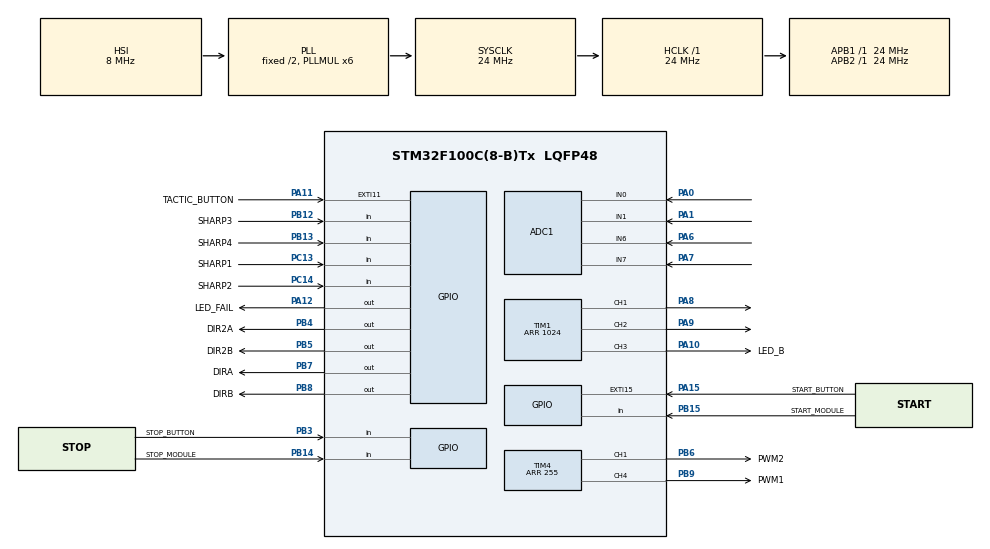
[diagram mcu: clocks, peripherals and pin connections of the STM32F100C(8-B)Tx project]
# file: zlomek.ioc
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ADC1.Channel-40\#ChannelRegularConversion=ADC_CHANNEL_0
ADC1.Channel-41\#ChannelRegularConversion=ADC_CHANNEL_1
ADC1.Channel-42\#ChannelRegularConversion=ADC_CHANNEL_6
ADC1.Channel-43\#ChannelRegularConversion=ADC_CHANNEL_7
ADC1.ContinuousConvMode=ENABLE
ADC1.DataAlign=ADC_DATAALIGN_RIGHT
ADC1.DiscontinuousConvMode=DISABLE
ADC1.EnableAnalogWatchDog=false
ADC1.EnableRegularConversion=ENABLE
ADC1.InjNumberOfConversion=0
ADC1.NbrOfConversion=4
ADC1.NbrOfConversionFlag=1
ADC1.Rank-40\#ChannelRegularConversion=1
ADC1.Rank-41\#ChannelRegularConversion=2
ADC1.Rank-42\#ChannelRegularConversion=3
ADC1.Rank-43\#ChannelRegularConversion=4
ADC1.SamplingTime-40\#ChannelRegularConversion=ADC_SAMPLETIME_55CYCLES_5
ADC1.SamplingTime-41\#ChannelRegularConversion=ADC_SAMPLETIME_55CYCLES_5
ADC1.SamplingTime-42\#ChannelRegularConversion=ADC_SAMPLETIME_55CYCLES_5
ADC1.SamplingTime-43\#ChannelRegularConversion=ADC_SAMPLETIME_55CYCLES_5
ADC1.ScanConvMode=ADC_SCAN_ENABLE
ADC1.master=1
Dma.ADC1.0.Direction=DMA_PERIPH_TO_MEMORY
Dma.ADC1.0.Instance=DMA1_Channel1
Dma.ADC1.0.MemDataAlignment=DMA_MDATAALIGN_HALFWORD
Dma.ADC1.0.MemInc=DMA_MINC_ENABLE
Dma.ADC1.0.Mode=DMA_CIRCULAR
Dma.ADC1.0.PeriphDataAlignment=DMA_PDATAALIGN_HALFWORD
Dma.ADC1.0.PeriphInc=DMA_PINC_DISABLE
Dma.ADC1.0.Priority=DMA_PRIORITY_LOW
Dma.Request0=ADC1
Mcu.Family=STM32F1
Mcu.Name=STM32F100C(8-B)Tx
Mcu.Package=LQFP48
NVIC.DMA1_Channel1_IRQn=true\:0\:0\:false\:false\:true\:true
NVIC.EXTI15_10_IRQn=true\:0\:0\:false\:false\:true\:true
NVIC.PriorityGroup=NVIC_PRIORITYGROUP_4
PA0-WKUP.Signal=ADCx_IN0
PA1.Signal=ADCx_IN1
PA10.GPIO_Label=LED_B
PA10.Signal=S_TIM1_CH3
PA11.GPIO_Label=TACTIC_BUTTON
PA11.GPIO_ModeDefaultEXTI=GPIO_MODE_IT_RISING_FALLING
PA11.Signal=GPXTI11
PA12.GPIO_Label=LED_FAIL
PA12.Signal=GPIO_Output
PA15.GPIO_Label=START_BUTTON
PA15.GPIO_ModeDefaultEXTI=GPIO_MODE_IT_RISING_FALLING
PA15.Signal=GPXTI15
PA6.Signal=ADCx_IN6
PA7.Signal=ADCx_IN7
PA8.Signal=S_TIM1_CH1
PA9.Signal=S_TIM1_CH2
PB12.GPIO_Label=SHARP3
PB12.Signal=GPIO_Input
PB13.GPIO_Label=SHARP4
PB13.Signal=GPIO_Input
PB14.GPIO_Label=STOP_MODULE
PB14.Signal=GPIO_Input
PB15.GPIO_Label=START_MODULE
PB15.Signal=GPIO_Input
PB3.GPIO_Label=STOP_BUTTON
PB3.Signal=GPIO_Input
PB4.GPIO_Label=DIR2A
PB4.Signal=GPIO_Output
PB5.GPIO_Label=DIR2B
PB5.Signal=GPIO_Output
PB6.GPIO_Label=PWM2
PB6.Signal=S_TIM4_CH1
PB7.GPIO_Label=DIRA
PB7.Signal=GPIO_Output
PB8.GPIO_Label=DIRB
PB8.Signal=GPIO_Output
PB9.GPIO_Label=PWM1
PB9.Signal=S_TIM4_CH4
PC13-TAMPER-RTC.GPIO_Label=SHARP1
PC13-TAMPER-RTC.Signal=GPIO_Input
PC14-OSC32_IN.GPIO_Label=SHARP2
PC14-OSC32_IN.Signal=GPIO_Input
ProjectManager.HeapSize=0x200
ProjectManager.StackSize=0x400
ProjectManager.TargetToolchain=SW4STM32
RCC.AHBFreq_Value=24000000
RCC.APB1Freq_Value=24000000
RCC.APB1TimFreq_Value=24000000
RCC.APB2Freq_Value=24000000
RCC.APB2TimFreq_Value=24000000
RCC.HCLKFreq_Value=24000000
RCC.PLLMUL=RCC_PLL_MUL6
RCC.SYSCLKFreq_VALUE=24000000
RCC.SYSCLKSource=RCC_SYSCLKSOURCE_PLLCLK
SH.ADCx_IN0.0=ADC1_IN0,IN0
SH.ADCx_IN1.0=ADC1_IN1,IN1
SH.ADCx_IN6.0=ADC1_IN6,IN6
SH.ADCx_IN7.0=ADC1_IN7,IN7
SH.S_TIM1_CH1.0=TIM1_CH1,PWM Generation1 CH1
SH.S_TIM1_CH2.0=TIM1_CH2,PWM Generation2 CH2
SH.S_TIM1_CH3.0=TIM1_CH3,PWM Generation3 CH3
SH.S_TIM4_CH1.0=TIM4_CH1,PWM Generation1 CH1
SH.S_TIM4_CH4.0=TIM4_CH4,PWM Generation4 CH4
TIM1.Channel-PWM\ Generation1\ CH1=TIM_CHANNEL_1
TIM1.Channel-PWM\ Generation2\ CH2=TIM_CHANNEL_2
TIM1.Channel-PWM\ Generation3\ CH3=TIM_CHANNEL_3
TIM1.Period=1024
TIM4.Channel-PWM\ Generation1\ CH1=TIM_CHANNEL_1
TIM4.Channel-PWM\ Generation4\ CH4=TIM_CHANNEL_4
TIM4.OCMode_PWM-PWM\ Generation4\ CH4=TIM_OCMODE_PWM1
TIM4.Period=255
VP_SYS_VS_ND.Mode=No_Debug
VP_TIM1_VS_ClockSourceINT.Mode=Internal
VP_TIM4_VS_ClockSourceINT.Mode=Internal
board=zlomek

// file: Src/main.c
/**
 ******************************************************************************
 * File Name          : main.c
 * Description        : Main program body
 ******************************************************************************
 *
 * COPYRIGHT(c) 2017 STMicroelectronics
 *
 * Redistribution and use in source and binary forms, with or without modification,
 * are permitted provided that the following conditions are met:
 *   1. Redistributions of source code must retain the above copyright notice,
 *      this list of conditions and the following disclaimer.
 *   2. Redistributions in binary form must reproduce the above copyright notice,
 *      this list of conditions and the following disclaimer in the documentation
 *      and/or other materials provided with the distribution.
 *   3. Neither the name of STMicroelectronics nor the names of its contributors
 *      may be used to endorse or promote products derived from this software
 *      without specific prior written permission.
 *
 * THIS SOFTWARE IS PROVIDED BY THE COPYRIGHT HOLDERS AND CONTRIBUTORS "AS IS"
 * AND ANY EXPRESS OR IMPLIED WARRANTIES, INCLUDING, BUT NOT LIMITED TO, THE
 * IMPLIED WARRANTIES OF MERCHANTABILITY AND FITNESS FOR A PARTICULAR PURPOSE ARE
 * DISCLAIMED. IN NO EVENT SHALL THE COPYRIGHT HOLDER OR CONTRIBUTORS BE LIABLE
 * FOR ANY DIRECT, INDIRECT, INCIDENTAL, SPECIAL, EXEMPLARY, OR CONSEQUENTIAL
 * DAMAGES (INCLUDING, BUT NOT LIMITED TO, PROCUREMENT OF SUBSTITUTE GOODS OR
 * SERVICES; LOSS OF USE, DATA, OR PROFITS; OR BUSINESS INTERRUPTION) HOWEVER
 * CAUSED AND ON ANY THEORY OF LIABILITY, WHETHER IN CONTRACT, STRICT LIABILITY,
 * OR TORT (INCLUDING NEGLIGENCE OR OTHERWISE) ARISING IN ANY WAY OUT OF THE USE
 * OF THIS SOFTWARE, EVEN IF ADVISED OF THE POSSIBILITY OF SUCH DAMAGE.
 *
 ******************************************************************************
 */
#include "main.h"
#include "stm32f1xx_hal.h"

ADC_HandleTypeDef hadc1;
DMA_HandleTypeDef hdma_adc1;

TIM_HandleTypeDef htim1;
TIM_HandleTypeDef htim4;

/* USER CODE BEGIN PV */
/* Private variables ---------------------------------------------------------*/
uint16_t KTIR[4];
int count = 0;
volatile int status = 0;
int kolory[10][3] = { { 50, 50, 50 }, { 150, 50, 50 }, { 250, 50, 50 }, { 50,
		150, 50 }, { 50, 250, 50 }, { 50, 50, 150 }, { 50, 50, 250 }, { 150,
		150, 150 }, { 250, 250, 0 }, { 0, 250, 250 }, };
int tactic = 0;
int max_tactic = 10;
/* USER CODE END PV */

void SystemClock_Config(void);
void Error_Handler(void);
static void MX_GPIO_Init(void);
static void MX_DMA_Init(void);
static void MX_TIM1_Init(void);
static void MX_TIM4_Init(void);
static void MX_ADC1_Init(void);

void HAL_TIM_MspPostInit(TIM_HandleTypeDef *htim);

/* USER CODE BEGIN PFP */
/* Private function prototypes -----------------------------------------------*/
void HAL_GPIO_EXTI_Callback(uint16_t GPIO_Pin);
/* USER CODE END PFP */

int main(void) {

	/* MCU Configuration----------------------------------------------------------*/

	/* Reset of all peripherals, Initializes the Flash interface and the Systick. */
	HAL_Init();

	/* Configure the system clock */
	SystemClock_Config();

	/* Initialize all configured peripherals */
	MX_GPIO_Init();
	MX_DMA_Init();
	MX_TIM1_Init();
	MX_TIM4_Init();
	MX_ADC1_Init();

	/* USER CODE BEGIN 2 */
	__HAL_AFIO_REMAP_SWJ_NOJTAG();
	HAL_TIM_PWM_Start(&htim1, TIM_CHANNEL_3); //Blue
	HAL_TIM_PWM_Start(&htim1, TIM_CHANNEL_2); //Red
	HAL_TIM_PWM_Start(&htim1, TIM_CHANNEL_1); //Green

	HAL_TIM_PWM_Start(&htim4, TIM_CHANNEL_1);
	HAL_TIM_PWM_Start(&htim4, TIM_CHANNEL_4);

	int direction = 0;
	int pop_direction = 0;
	int zmiana = 0;
	int q1 = 1;
	int q2 = 1;
	// -- Enables ADC DMA request

	HAL_ADC_Start_DMA(&hadc1, KTIR, 4);
	//HAL_ADC_Start(&hadc1);
	//HAL_ADC_Start_DMA(&hadc1, KTIR, 2);
	//HAL_ADC_Start(&hadc1);
	//HAL_ADC_Start(&hadc1);
	/* USER CODE END 2 */

	/* Infinite loop */
	while (1) {
		/*HAL_ADC_Start(&hadc1);
		 while(HAL_ADC_PollForConversion(&hadc1,0) != HAL_OK);

		 while(HAL_ADC_PollForConversion(&hadc1,0) != HAL_OK);

		 HAL_ADC_Stop(&hadc1);
		 TIM1->CCR2 = KTIR[1];*/

		//KTIR[0] = HAL_ADC_GetValue(&hadc1);
		//KTIR[0]= HAL_ADC_GetValue(&hadc1);
		// TIM1->CCR1 = KTIR[0];
		/*
		 if(HAL_GPIO_ReadPin(START_BUTTON_GPIO_Port, START_BUTTON_Pin) == GPIO_PIN_SET){
		 HAL_Delay(50);
		 if(HAL_GPIO_ReadPin(START_BUTTON_GPIO_Port, START_BUTTON_Pin) == GPIO_PIN_SET){
		 if(status == 0) status = 1; else status = 0;

		 HAL_GPIO_WritePin(LED_FAIL_GPIO_Port, LED_FAIL_Pin, GPIO_PIN_SET);
		 HAL_Delay(1000);
		 HAL_GPIO_WritePin(LED_FAIL_GPIO_Port, LED_FAIL_Pin, GPIO_PIN_RESET);
		 HAL_Delay(1000);
		 HAL_GPIO_WritePin(LED_FAIL_GPIO_Port, LED_FAIL_Pin, GPIO_PIN_SET);
		 if(HAL_GPIO_ReadPin(START_BUTTON_GPIO_Port, START_BUTTON_Pin) == GPIO_PIN_SET){
		 status = 2;
		 }else{
		 HAL_Delay(1000);
		 HAL_GPIO_WritePin(LED_FAIL_GPIO_Port, LED_FAIL_Pin, GPIO_PIN_RESET);
		 HAL_Delay(1000);
		 HAL_GPIO_WritePin(LED_FAIL_GPIO_Port, LED_FAIL_Pin, GPIO_PIN_SET);
		 HAL_Delay(1000);

		 }
		 }
		 }
		 if(status == 2){
		 TIM1->CCR3 = 60;
		 TIM1->CCR2 = 60;
		 TIM1->CCR1 = 60;

		 }*/
		if (status == 1) {
			status = 2;
			for (int i = 0; i < 5; i++) {
				HAL_GPIO_WritePin(LED_FAIL_GPIO_Port, LED_FAIL_Pin,
						GPIO_PIN_SET);
				HAL_Delay(500);
				HAL_GPIO_WritePin(LED_FAIL_GPIO_Port, LED_FAIL_Pin,
						GPIO_PIN_RESET);
				HAL_Delay(500);
			}
		}
		if (status == 2) {
			TIM4->CCR1 = 0;
			TIM4->CCR4 = 0;
			zmiana = 0;
			//direction = 4;
			TIM1->CCR3 = 0;
			TIM1->CCR2 = 0;
			TIM1->CCR1 = 0;
			HAL_GPIO_WritePin(LED_FAIL_GPIO_Port, LED_FAIL_Pin, GPIO_PIN_RESET);

			if (HAL_GPIO_ReadPin(SHARP1_GPIO_Port, SHARP1_Pin)
					== GPIO_PIN_RESET) {
				direction = 1;
				zmiana = 1;
				TIM1->CCR3 = 200;

			}
			if (HAL_GPIO_ReadPin(SHARP2_GPIO_Port, SHARP2_Pin)
					== GPIO_PIN_RESET) {
				if (direction == 1)
					direction = 2;
				else
					direction = 3;
				zmiana = 1;
				TIM1->CCR2 = 200;
			}

			if (HAL_GPIO_ReadPin(SHARP3_GPIO_Port, SHARP3_Pin)
					== GPIO_PIN_RESET) {
				if (direction == 3)
					direction = 4;
				else
					direction = 5;
				zmiana = 1;
				TIM1->CCR1 = 200;
			}

			if (HAL_GPIO_ReadPin(SHARP4_GPIO_Port, SHARP4_Pin)
					== GPIO_PIN_RESET) {
				if (direction == 5)
					direction = 6;
				else
					direction = 7;

				zmiana = 1;
				HAL_GPIO_WritePin(LED_FAIL_GPIO_Port, LED_FAIL_Pin,
						GPIO_PIN_SET);

			}

			if (zmiana == 0) {
				int tmp = direction;
				if (direction < 4) {
					if (pop_direction < direction)
						direction++;
					else if (pop_direction > direction)
						direction--;
					else {
					}
				} else {
					if (direction > 4) {
						if (pop_direction < direction)
							direction++;
						else if (pop_direction > direction)
							direction--;
						else {
						}
					}
				}
				if (direction > 7)
					direction = 7;
				if (direction < 1)
					direction = 0;
				pop_direction = tmp;
			}

			switch (direction) {
			case 0: {
				HAL_GPIO_WritePin(GPIOB, DIR2A_Pin, GPIO_PIN_RESET);
				HAL_GPIO_WritePin(GPIOB, DIR2B_Pin, GPIO_PIN_SET);
				TIM4->CCR1 = 200;

				HAL_GPIO_WritePin(GPIOB, DIRA_Pin, GPIO_PIN_RESET);
				HAL_GPIO_WritePin(GPIOB, DIRB_Pin, GPIO_PIN_SET);
				TIM4->CCR4 = 200;

				break;
			}
			case 1: {
				HAL_GPIO_WritePin(GPIOB, DIR2A_Pin, GPIO_PIN_RESET);
				HAL_GPIO_WritePin(GPIOB, DIR2B_Pin, GPIO_PIN_SET);
				TIM4->CCR1 = 250;

				HAL_GPIO_WritePin(GPIOB, DIRA_Pin, GPIO_PIN_RESET);
				HAL_GPIO_WritePin(GPIOB, DIRB_Pin, GPIO_PIN_SET);
				TIM4->CCR4 = 250;

				break;
			}
			case 2: {
				HAL_GPIO_WritePin(GPIOB, DIR2A_Pin, GPIO_PIN_RESET);
				HAL_GPIO_WritePin(GPIOB, DIR2B_Pin, GPIO_PIN_SET);
				TIM4->CCR1 = 120;

				HAL_GPIO_WritePin(GPIOB, DIRA_Pin, GPIO_PIN_RESET);
				HAL_GPIO_WritePin(GPIOB, DIRB_Pin, GPIO_PIN_SET);
				TIM4->CCR4 = 250;

				break;
			}
			case 3: {
				HAL_GPIO_WritePin(GPIOB, DIR2A_Pin, GPIO_PIN_SET);
				HAL_GPIO_WritePin(GPIOB, DIR2B_Pin, GPIO_PIN_RESET);
				TIM4->CCR1 = 150;

				HAL_GPIO_WritePin(GPIOB, DIRA_Pin, GPIO_PIN_RESET);
				HAL_GPIO_WritePin(GPIOB, DIRB_Pin, GPIO_PIN_SET);
				TIM4->CCR4 = 250;

				break;
			}
			case 4: {
				HAL_GPIO_WritePin(GPIOB, DIR2A_Pin, GPIO_PIN_SET);
				HAL_GPIO_WritePin(GPIOB, DIR2B_Pin, GPIO_PIN_RESET);
				TIM4->CCR1 = q1 * 250;

				HAL_GPIO_WritePin(GPIOB, DIRA_Pin, GPIO_PIN_RESET);
				HAL_GPIO_WritePin(GPIOB, DIRB_Pin, GPIO_PIN_SET);
				TIM4->CCR4 = q2 * 250;

				break;
			}
			case 5: {
				HAL_GPIO_WritePin(GPIOB, DIR2A_Pin, GPIO_PIN_SET);
				HAL_GPIO_WritePin(GPIOB, DIR2B_Pin, GPIO_PIN_RESET);
				TIM4->CCR1 = 250;

				HAL_GPIO_WritePin(GPIOB, DIRA_Pin, GPIO_PIN_RESET);
				HAL_GPIO_WritePin(GPIOB, DIRB_Pin, GPIO_PIN_SET);
				TIM4->CCR4 = 150;

				break;
			}
			case 6: {
				HAL_GPIO_WritePin(GPIOB, DIR2A_Pin, GPIO_PIN_SET);
				HAL_GPIO_WritePin(GPIOB, DIR2B_Pin, GPIO_PIN_RESET);
				TIM4->CCR1 = 250;

				HAL_GPIO_WritePin(GPIOB, DIRA_Pin, GPIO_PIN_SET);
				HAL_GPIO_WritePin(GPIOB, DIRB_Pin, GPIO_PIN_RESET);
				TIM4->CCR4 = 120;

				break;
			}
			case 7: {
				HAL_GPIO_WritePin(GPIOB, DIR2A_Pin, GPIO_PIN_SET);
				HAL_GPIO_WritePin(GPIOB, DIR2B_Pin, GPIO_PIN_RESET);
				TIM4->CCR1 = 250;

				HAL_GPIO_WritePin(GPIOB, DIRA_Pin, GPIO_PIN_SET);
				HAL_GPIO_WritePin(GPIOB, DIRB_Pin, GPIO_PIN_RESET);
				TIM4->CCR4 = 250;

				break;
			}
			}
			HAL_Delay(20);
		}

		/*HAL_Delay(15);
		 if(HAL_GPIO_ReadPin(START_BUTTON_GPIO_Port, START_BUTTON_Pin) == GPIO_PIN_SET){
		 HAL_Delay(15);
		 if(HAL_GPIO_ReadPin(START_BUTTON_GPIO_Port, START_BUTTON_Pin) == GPIO_PIN_SET){
		 HAL_GPIO_WritePin(LED_G_GPIO_Port, LED_G_Pin, GPIO_PIN_SET);
		 }else{
		 HAL_GPIO_WritePin(LED_G_GPIO_Port, LED_G_Pin, GPIO_PIN_RESET);
		 }
		 }
		 */

		/*

		 HAL_GPIO_WritePin(GPIOA, LED_FAIL_Pin,  GPIO_PIN_SET);
		 HAL_Delay(100);
		 HAL_GPIO_WritePin(GPIOA, LED_FAIL_Pin,  GPIO_PIN_RESET);
		 HAL_Delay(100);
		 int i;
		 for(i=0;i < 255; i++){
		 TIM1->CCR3 = i;
		 HAL_Delay(15);
		 }

		 HAL_GPIO_WritePin(GPIOB, DIR2A_Pin,  GPIO_PIN_SET);
		 HAL_GPIO_WritePin(GPIOB, DIR2B_Pin,  GPIO_PIN_RESET);
		 HAL_GPIO_WritePin(GPIOB, DIRA_Pin,  GPIO_PIN_SET);
		 HAL_GPIO_WritePin(GPIOB, DIRB_Pin,  GPIO_PIN_RESET);
		 for(i=0;i < 200; i++){
		 TIM4->CCR1 = i;
		 TIM4->CCR4 = i;
		 HAL_Delay(15);
		 }
		 for(i=200;i > 0; i--){
		 TIM4->CCR1 = i;
		 TIM4->CCR4 = i;
		 HAL_Delay(15);
		 }
		 HAL_Delay(2000);
		 HAL_GPIO_WritePin(GPIOB, DIR2A_Pin,  GPIO_PIN_RESET);
		 HAL_GPIO_WritePin(GPIOB, DIR2B_Pin,  GPIO_PIN_SET);
		 HAL_GPIO_WritePin(GPIOB, DIRA_Pin,  GPIO_PIN_RESET);
		 HAL_GPIO_WritePin(GPIOB, DIRB_Pin,  GPIO_PIN_SET);

		 TIM4->CCR1 = 60;
		 TIM4->CCR4 = 60;
		 HAL_Delay(2000);
		 */
	}
	/* USER CODE END 3 */

}

/** System Clock Configuration
 */
void SystemClock_Config(void) {

	RCC_OscInitTypeDef RCC_OscInitStruct;
	RCC_ClkInitTypeDef RCC_ClkInitStruct;
	RCC_PeriphCLKInitTypeDef PeriphClkInit;

	/**Initializes the CPU, AHB and APB busses clocks
	 */
	RCC_OscInitStruct.OscillatorType = RCC_OSCILLATORTYPE_HSI;
	RCC_OscInitStruct.HSIState = RCC_HSI_ON;
	RCC_OscInitStruct.HSICalibrationValue = 16;
	RCC_OscInitStruct.PLL.PLLState = RCC_PLL_ON;
	RCC_OscInitStruct.PLL.PLLSource = RCC_PLLSOURCE_HSI_DIV2;
	RCC_OscInitStruct.PLL.PLLMUL = RCC_PLL_MUL6;
	if (HAL_RCC_OscConfig(&RCC_OscInitStruct) != HAL_OK) {
		Error_Handler();
	}

	/**Initializes the CPU, AHB and APB busses clocks
	 */
	RCC_ClkInitStruct.ClockType = RCC_CLOCKTYPE_HCLK | RCC_CLOCKTYPE_SYSCLK
			| RCC_CLOCKTYPE_PCLK1 | RCC_CLOCKTYPE_PCLK2;
	RCC_ClkInitStruct.SYSCLKSource = RCC_SYSCLKSOURCE_PLLCLK;
	RCC_ClkInitStruct.AHBCLKDivider = RCC_SYSCLK_DIV1;
	RCC_ClkInitStruct.APB1CLKDivider = RCC_HCLK_DIV1;
	RCC_ClkInitStruct.APB2CLKDivider = RCC_HCLK_DIV1;

	if (HAL_RCC_ClockConfig(&RCC_ClkInitStruct, FLASH_LATENCY_0) != HAL_OK) {
		Error_Handler();
	}

	PeriphClkInit.PeriphClockSelection = RCC_PERIPHCLK_ADC;
	PeriphClkInit.AdcClockSelection = RCC_ADCPCLK2_DIV2;
	if (HAL_RCCEx_PeriphCLKConfig(&PeriphClkInit) != HAL_OK) {
		Error_Handler();
	}

	/**Configure the Systick interrupt time
	 */
	HAL_SYSTICK_Config(HAL_RCC_GetHCLKFreq() / 1000);

	/**Configure the Systick
	 */
	HAL_SYSTICK_CLKSourceConfig(SYSTICK_CLKSOURCE_HCLK);

	/* SysTick_IRQn interrupt configuration */
	HAL_NVIC_SetPriority(SysTick_IRQn, 0, 0);
}

/* ADC1 init function */
static void MX_ADC1_Init(void) {

	ADC_ChannelConfTypeDef sConfig;

	/**Common config
	 */
	hadc1.Instance = ADC1;
	hadc1.Init.ScanConvMode = ADC_SCAN_ENABLE;
	hadc1.Init.ContinuousConvMode = ENABLE;
	hadc1.Init.DiscontinuousConvMode = DISABLE;
	hadc1.Init.ExternalTrigConv = ADC_SOFTWARE_START;
	hadc1.Init.DataAlign = ADC_DATAALIGN_RIGHT;
	hadc1.Init.NbrOfConversion = 4;
	if (HAL_ADC_Init(&hadc1) != HAL_OK) {
		Error_Handler();
	}

	/**Configure Regular Channel
	 */
	sConfig.Channel = ADC_CHANNEL_0;
	sConfig.Rank = 1;
	sConfig.SamplingTime = ADC_SAMPLETIME_55CYCLES_5;
	if (HAL_ADC_ConfigChannel(&hadc1, &sConfig) != HAL_OK) {
		Error_Handler();
	}

	/**Configure Regular Channel
	 */
	sConfig.Channel = ADC_CHANNEL_1;
	sConfig.Rank = 2;
	if (HAL_ADC_ConfigChannel(&hadc1, &sConfig) != HAL_OK) {
		Error_Handler();
	}

	/**Configure Regular Channel
	 */
	sConfig.Channel = ADC_CHANNEL_6;
	sConfig.Rank = 3;
	if (HAL_ADC_ConfigChannel(&hadc1, &sConfig) != HAL_OK) {
		Error_Handler();
	}

	/**Configure Regular Channel
	 */
	sConfig.Channel = ADC_CHANNEL_7;
	sConfig.Rank = 4;
	if (HAL_ADC_ConfigChannel(&hadc1, &sConfig) != HAL_OK) {
		Error_Handler();
	}

}

/* TIM1 init function */
static void MX_TIM1_Init(void) {

	TIM_ClockConfigTypeDef sClockSourceConfig;
	TIM_MasterConfigTypeDef sMasterConfig;
	TIM_OC_InitTypeDef sConfigOC;
	TIM_BreakDeadTimeConfigTypeDef sBreakDeadTimeConfig;

	htim1.Instance = TIM1;
	htim1.Init.Prescaler = 0;
	htim1.Init.CounterMode = TIM_COUNTERMODE_UP;
	htim1.Init.Period = 1024;
	htim1.Init.ClockDivision = TIM_CLOCKDIVISION_DIV1;
	htim1.Init.RepetitionCounter = 0;
	if (HAL_TIM_Base_Init(&htim1) != HAL_OK) {
		Error_Handler();
	}

	sClockSourceConfig.ClockSource = TIM_CLOCKSOURCE_INTERNAL;
	if (HAL_TIM_ConfigClockSource(&htim1, &sClockSourceConfig) != HAL_OK) {
		Error_Handler();
	}

	if (HAL_TIM_PWM_Init(&htim1) != HAL_OK) {
		Error_Handler();
	}

	sMasterConfig.MasterOutputTrigger = TIM_TRGO_RESET;
	sMasterConfig.MasterSlaveMode = TIM_MASTERSLAVEMODE_DISABLE;
	if (HAL_TIMEx_MasterConfigSynchronization(&htim1, &sMasterConfig)
			!= HAL_OK) {
		Error_Handler();
	}

	sConfigOC.OCMode = TIM_OCMODE_PWM1;
	sConfigOC.Pulse = 0;
	sConfigOC.OCPolarity = TIM_OCPOLARITY_HIGH;
	sConfigOC.OCNPolarity = TIM_OCNPOLARITY_HIGH;
	sConfigOC.OCFastMode = TIM_OCFAST_DISABLE;
	sConfigOC.OCIdleState = TIM_OCIDLESTATE_RESET;
	sConfigOC.OCNIdleState = TIM_OCNIDLESTATE_RESET;
	if (HAL_TIM_PWM_ConfigChannel(&htim1, &sConfigOC, TIM_CHANNEL_1)
			!= HAL_OK) {
		Error_Handler();
	}

	if (HAL_TIM_PWM_ConfigChannel(&htim1, &sConfigOC, TIM_CHANNEL_2)
			!= HAL_OK) {
		Error_Handler();
	}

	if (HAL_TIM_PWM_ConfigChannel(&htim1, &sConfigOC, TIM_CHANNEL_3)
			!= HAL_OK) {
		Error_Handler();
	}

	sBreakDeadTimeConfig.OffStateRunMode = TIM_OSSR_DISABLE;
	sBreakDeadTimeConfig.OffStateIDLEMode = TIM_OSSI_DISABLE;
	sBreakDeadTimeConfig.LockLevel = TIM_LOCKLEVEL_OFF;
	sBreakDeadTimeConfig.DeadTime = 0;
	sBreakDeadTimeConfig.BreakState = TIM_BREAK_DISABLE;
	sBreakDeadTimeConfig.BreakPolarity = TIM_BREAKPOLARITY_HIGH;
	sBreakDeadTimeConfig.AutomaticOutput = TIM_AUTOMATICOUTPUT_DISABLE;
	if (HAL_TIMEx_ConfigBreakDeadTime(&htim1, &sBreakDeadTimeConfig)
			!= HAL_OK) {
		Error_Handler();
	}

	HAL_TIM_MspPostInit(&htim1);

}

/* TIM4 init function */
static void MX_TIM4_Init(void) {

	TIM_ClockConfigTypeDef sClockSourceConfig;
	TIM_MasterConfigTypeDef sMasterConfig;
	TIM_OC_InitTypeDef sConfigOC;

	htim4.Instance = TIM4;
	htim4.Init.Prescaler = 0;
	htim4.Init.CounterMode = TIM_COUNTERMODE_UP;
	htim4.Init.Period = 255;
	htim4.Init.ClockDivision = TIM_CLOCKDIVISION_DIV1;
	if (HAL_TIM_Base_Init(&htim4) != HAL_OK) {
		Error_Handler();
	}

	sClockSourceConfig.ClockSource = TIM_CLOCKSOURCE_INTERNAL;
	if (HAL_TIM_ConfigClockSource(&htim4, &sClockSourceConfig) != HAL_OK) {
		Error_Handler();
	}

	if (HAL_TIM_PWM_Init(&htim4) != HAL_OK) {
		Error_Handler();
	}

	sMasterConfig.MasterOutputTrigger = TIM_TRGO_RESET;
	sMasterConfig.MasterSlaveMode = TIM_MASTERSLAVEMODE_DISABLE;
	if (HAL_TIMEx_MasterConfigSynchronization(&htim4, &sMasterConfig)
			!= HAL_OK) {
		Error_Handler();
	}

	sConfigOC.OCMode = TIM_OCMODE_PWM1;
	sConfigOC.Pulse = 0;
	sConfigOC.OCPolarity = TIM_OCPOLARITY_HIGH;
	sConfigOC.OCFastMode = TIM_OCFAST_DISABLE;
	if (HAL_TIM_PWM_ConfigChannel(&htim4, &sConfigOC, TIM_CHANNEL_1)
			!= HAL_OK) {
		Error_Handler();
	}

	if (HAL_TIM_PWM_ConfigChannel(&htim4, &sConfigOC, TIM_CHANNEL_4)
			!= HAL_OK) {
		Error_Handler();
	}

	HAL_TIM_MspPostInit(&htim4);

}

static void MX_DMA_Init(void) {
	/* DMA controller clock enable */
	__HAL_RCC_DMA1_CLK_ENABLE()
	;

	/* DMA interrupt init */
	/* DMA1_Channel1_IRQn interrupt configuration */
	HAL_NVIC_SetPriority(DMA1_Channel1_IRQn, 0, 0);
	HAL_NVIC_EnableIRQ(DMA1_Channel1_IRQn);

}

/** Configure pins as
 * Analog
 * Input
 * Output
 * EVENT_OUT
 * EXTI
 */
static void MX_GPIO_Init(void) {

	GPIO_InitTypeDef GPIO_InitStruct;

	/* GPIO Ports Clock Enable */
	__HAL_RCC_GPIOC_CLK_ENABLE()
	;
	__HAL_RCC_GPIOA_CLK_ENABLE()
	;
	__HAL_RCC_GPIOB_CLK_ENABLE()
	;

	/*Configure GPIO pin Output Level */
	HAL_GPIO_WritePin(LED_FAIL_GPIO_Port, LED_FAIL_Pin, GPIO_PIN_RESET);

	/*Configure GPIO pin Output Level */
	HAL_GPIO_WritePin(GPIOB, DIR2A_Pin | DIR2B_Pin | DIRA_Pin | DIRB_Pin,
			GPIO_PIN_RESET);

	/*Configure GPIO pins : SHARP1_Pin SHARP2_Pin */
	GPIO_InitStruct.Pin = SHARP1_Pin | SHARP2_Pin;
	GPIO_InitStruct.Mode = GPIO_MODE_INPUT;
	GPIO_InitStruct.Pull = GPIO_NOPULL;
	HAL_GPIO_Init(GPIOC, &GPIO_InitStruct);

	/*Configure GPIO pins : SHARP3_Pin SHARP4_Pin STOP_MODULE_Pin START_MODULE_Pin
	 STOP_BUTTON_Pin */
	GPIO_InitStruct.Pin = SHARP3_Pin | SHARP4_Pin | STOP_MODULE_Pin
			| START_MODULE_Pin | STOP_BUTTON_Pin;
	GPIO_InitStruct.Mode = GPIO_MODE_INPUT;
	GPIO_InitStruct.Pull = GPIO_NOPULL;
	HAL_GPIO_Init(GPIOB, &GPIO_InitStruct);

	/*Configure GPIO pins : TACTIC_BUTTON_Pin START_BUTTON_Pin */
	GPIO_InitStruct.Pin = TACTIC_BUTTON_Pin | START_BUTTON_Pin;
	GPIO_InitStruct.Mode = GPIO_MODE_IT_RISING_FALLING;
	GPIO_InitStruct.Pull = GPIO_NOPULL;
	HAL_GPIO_Init(GPIOA, &GPIO_InitStruct);

	/*Configure GPIO pin : LED_FAIL_Pin */
	GPIO_InitStruct.Pin = LED_FAIL_Pin;
	GPIO_InitStruct.Mode = GPIO_MODE_OUTPUT_PP;
	GPIO_InitStruct.Speed = GPIO_SPEED_FREQ_LOW;
	HAL_GPIO_Init(LED_FAIL_GPIO_Port, &GPIO_InitStruct);

	/*Configure GPIO pins : DIR2A_Pin DIR2B_Pin DIRA_Pin DIRB_Pin */
	GPIO_InitStruct.Pin = DIR2A_Pin | DIR2B_Pin | DIRA_Pin | DIRB_Pin;
	GPIO_InitStruct.Mode = GPIO_MODE_OUTPUT_PP;
	GPIO_InitStruct.Speed = GPIO_SPEED_FREQ_LOW;
	HAL_GPIO_Init(GPIOB, &GPIO_InitStruct);

	/* EXTI interrupt init*/
	HAL_NVIC_SetPriority(EXTI15_10_IRQn, 0, 0);
	HAL_NVIC_EnableIRQ(EXTI15_10_IRQn);

}

/* USER CODE BEGIN 4 */
void HAL_GPIO_EXTI_Callback(uint16_t GPIO_Pin) {
	if (HAL_GPIO_ReadPin(START_BUTTON_GPIO_Port, START_BUTTON_Pin)) {
		status = 1;
	}
	if (HAL_GPIO_ReadPin(TACTIC_BUTTON_GPIO_Port, TACTIC_BUTTON_Pin)) {

		if (tactic == max_tactic)
			tactic = 0;
		else
			tactic++;
		TIM1->CCR3 = kolory[tactic][0];
		TIM1->CCR2 = kolory[tactic][1];
		TIM1->CCR1 = kolory[tactic][2];
	}
}

/* USER CODE END 4 */

void Error_Handler(void) {
	while (1) {
	}
}

/************************ (C) COPYRIGHT STMicroelectronics *****END OF FILE****/
